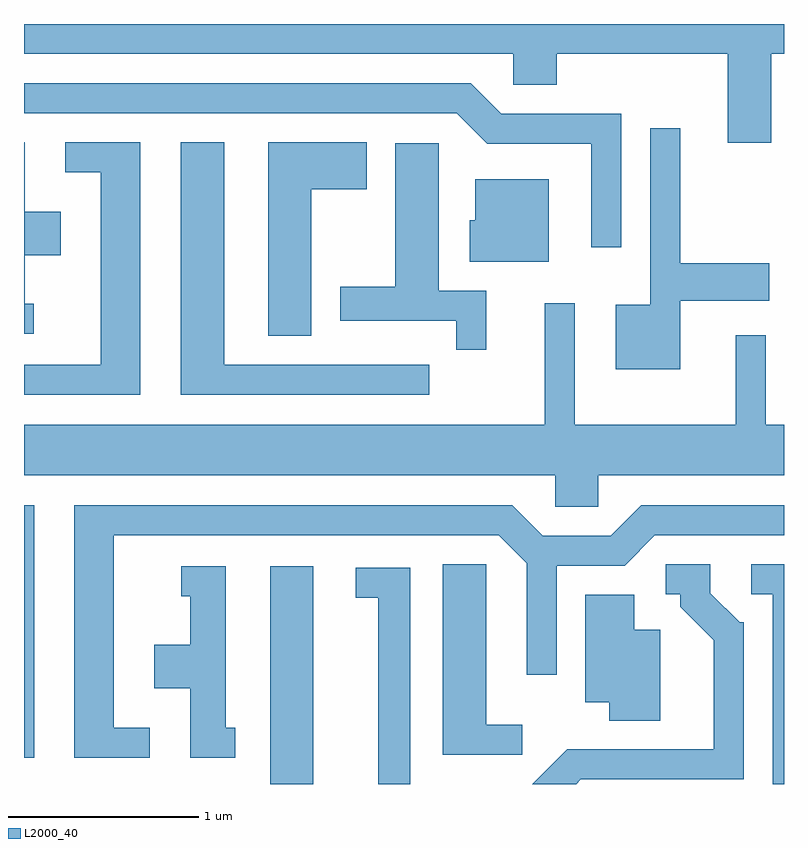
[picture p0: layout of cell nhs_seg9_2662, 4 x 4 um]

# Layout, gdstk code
import gdstk
lib = gdstk.Library(unit=1e-6, precision=1e-09)
def R(c, l, rs):  # rectangles x0, y0, x1, y1
    for r in rs: c.add(gdstk.rectangle(r[:2], r[2:], *l))
def P(c, l, *ps):  # polygons
    for p in ps: c.add(gdstk.Polygon(p, *l))
L2000_40 = (2000, 40)

nhs_seg9_2662 = lib.new_cell('nhs_seg9_2662')
R(nhs_seg9_2662, L2000_40, [(264.906,1972.432,265.134,1973.579), (263.611,1972.571,263.664,1973.899)])
P(nhs_seg9_2662, L2000_40, [(263.611,1976.276),(266.186,1976.276),(266.186,1976.111),(266.414,1976.111),(266.414,1976.276),(267.316,1976.276),(267.316,1975.806),(267.544,1975.806),(267.544,1976.276),(267.611,1976.276),(267.611,1976.432),(263.611,1976.432)],
  [(266.754,1975.959),(266.122,1975.959),(265.962,1976.119),(263.611,1976.119),(263.611,1975.961),(265.889,1975.961),(266.049,1975.801),(266.596,1975.801),(266.596,1975.258),(266.754,1975.258)],
  [(267.064,1974.976),(267.534,1974.976),(267.534,1975.174),(267.064,1975.174),(267.064,1975.883),(266.906,1975.883),(266.906,1974.954),(266.726,1974.954),(266.726,1974.616),(267.064,1974.616)],
  [(263.663,1974.959),(263.614,1974.959),(263.614,1975.216),(263.804,1975.216),(263.804,1975.444),(263.614,1975.444),(263.614,1975.809),(263.611,1975.809),(263.611,1974.801),(263.663,1974.801)],
  [(265.743,1974.639),(264.664,1974.639),(264.664,1975.809),(264.436,1975.809),(264.436,1974.481),(265.743,1974.481)],
  [(264.224,1975.809),(263.828,1975.809),(263.828,1975.651),(264.016,1975.651),(264.016,1974.639),(263.611,1974.639),(263.611,1974.481),(264.224,1974.481)],
  [(265.124,1975.561),(265.414,1975.561),(265.414,1975.809),(264.896,1975.809),(264.896,1974.791),(265.124,1974.791)],
  [(266.044,1975.029),(265.794,1975.029),(265.794,1975.804),(265.566,1975.804),(265.566,1975.049),(265.276,1975.049),(265.276,1974.871),(265.886,1974.871),(265.886,1974.718),(266.044,1974.718)],
  [(266.374,1975.614),(265.986,1975.614),(265.986,1975.399),(265.956,1975.399),(265.956,1975.181),(266.374,1975.181)],
  [(266.634,1974.056),(267.611,1974.056),(267.611,1974.324),(267.514,1974.324),(267.514,1974.793),(267.356,1974.793),(267.356,1974.324),(266.509,1974.324),(266.509,1974.963),(266.351,1974.963),(266.351,1974.324),(263.611,1974.324),(263.611,1974.056),(266.406,1974.056),(266.406,1973.891),(266.634,1973.891)],
  [(264.273,1972.729),(264.084,1972.729),(264.084,1973.741),(266.109,1973.741),(266.256,1973.594),(266.256,1973.008),(266.414,1973.008),(266.414,1973.581),(266.772,1973.581),(266.932,1973.741),(267.611,1973.741),(267.611,1973.899),(266.859,1973.899),(266.699,1973.739),(266.342,1973.739),(266.182,1973.899),(263.876,1973.899),(263.876,1972.571),(264.273,1972.571)],
  [(266.233,1972.744),(266.044,1972.744),(266.044,1973.589),(265.816,1973.589),(265.816,1972.586),(266.233,1972.586)],
  [(267.611,1973.589),(267.438,1973.589),(267.438,1973.431),(267.551,1973.431),(267.551,1972.432),(267.611,1972.432)],
  [(266.542,1972.456),(267.399,1972.456),(267.399,1973.284),(267.377,1973.284),(267.224,1973.437),(267.224,1973.589),(266.988,1973.589),(266.988,1973.431),(267.066,1973.431),(267.066,1973.364),(267.241,1973.189),(267.241,1972.614),(266.469,1972.614),(266.287,1972.432),(266.518,1972.432)],
  [(264.723,1972.729),(264.674,1972.729),(264.674,1973.579),(264.438,1973.579),(264.438,1973.421),(264.486,1973.421),(264.486,1973.164),(264.296,1973.164),(264.296,1972.936),(264.486,1972.936),(264.486,1972.571),(264.723,1972.571)],
  [(265.644,1973.569),(265.358,1973.569),(265.358,1973.411),(265.476,1973.411),(265.476,1972.432),(265.644,1972.432)],
  [(266.959,1973.244),(266.824,1973.244),(266.824,1973.429),(266.566,1973.429),(266.566,1972.861),(266.691,1972.861),(266.691,1972.766),(266.959,1972.766)])

lib.write_gds('nhs_seg9_2662.gds')
